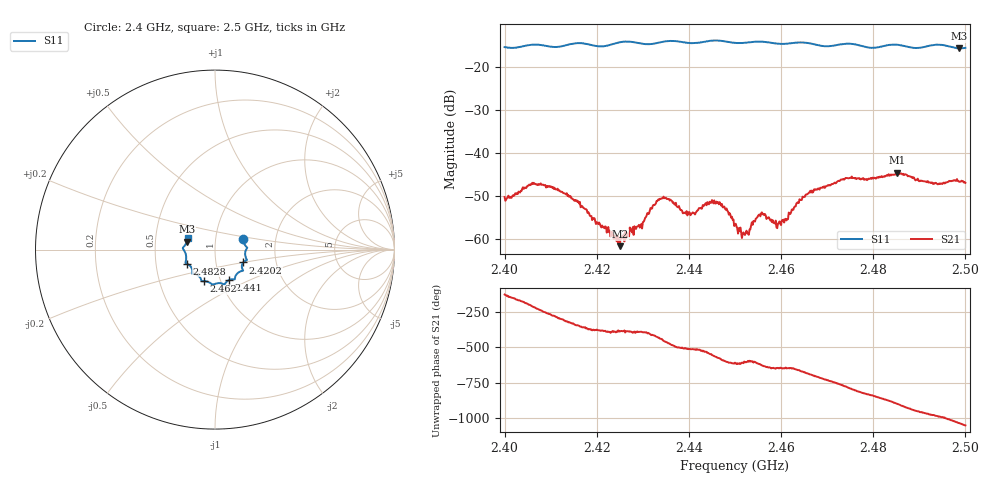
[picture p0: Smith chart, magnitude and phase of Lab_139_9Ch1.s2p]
# Hz S RI R 50
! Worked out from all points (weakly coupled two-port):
!   601 points, 2.4 GHz to 2.5 GHz, reference 50 ohm
!   highest |S21| = -44.55 dB at 2.4852 GHz (marker M1); lowest = -61.6 dB at 2.425 GHz (marker M2)
!   lowest |S11| = -15.8 dB at 2.4987 GHz (marker M3), VSWR 1.39, Z = 36.3 + j3.26 ohm
!   |S11| at or under -10 dB: start of sweep to end of sweep
!   S12 and S22 are empty: the file has one direction only
!   S11 on the Smith chart (normalised r, x): 2.4 GHz: 1.36, +0.17; 2.4202 GHz: 1.35, -0.20; 2.441 GHz: 1.10, -0.39; 2.462 GHz: 0.83, -0.30; 2.4828 GHz: 0.72, -0.12; 2.5 GHz: 0.73, +0.09
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2.4e9  0.1571 0.0609  -0.00202 -0.00233  0 0  0 0
2.4065e9  0.1798 0.0117  -0.00327 0.00292  0 0  0 0
2.416667e9  0.1774 -0.0591  0.00239 0.000148  0 0  0 0
2.420167e9  0.1568 -0.0718  0.00146 -0.000525  0 0  0 0
2.425e9  0.1551 -0.113  0.000729 -0.000402  0 0  0 0
2.429833e9  0.1366 -0.124  0.0011 -0.000757  0 0  0 0
2.433333e9  0.1126 -0.152  0.000811 -0.00277  0 0  0 0
2.441e9  0.0773 -0.1705  -0.00183 -0.000867  0 0  0 0
2.446333e9  0.0503 -0.1944  -0.00219 0.00156  0 0  0 0
2.45e9  0.0269 -0.1866  -0.000535 0.00137  0 0  0 0
2.451833e9  0.00898 -0.1881  -0.000364 0.00114  0 0  0 0
2.4555e9  -0.0128 -0.1951  -0.000251 0.00183  0 0  0 0
2.4595e9  -0.0375 -0.1801  0.000492 0.00147  0 0  0 0
2.462e9  -0.0614 -0.1759  0.000535 0.00189  0 0  0 0
2.466667e9  -0.0772 -0.1674  0.00334 0.00152  0 0  0 0
2.474e9  -0.1249 -0.1356  0.00297 -0.00419  0 0  0 0
2.482833e9  -0.1579 -0.0779  -0.00472 -0.00272  0 0  0 0
2.483333e9  -0.1608 -0.0767  -0.0051 -0.00245  0 0  0 0
2.485167e9  -0.1646 -0.0716  -0.00592 -0.000303  0 0  0 0
2.4935e9  -0.179 0.00597  -0.000741 0.00445  0 0  0 0
2.498667e9  -0.1568 0.0437  0.00315 0.00338  0 0  0 0
2.5e9  -0.153 0.0621  0.00387 0.00231  0 0  0 0
